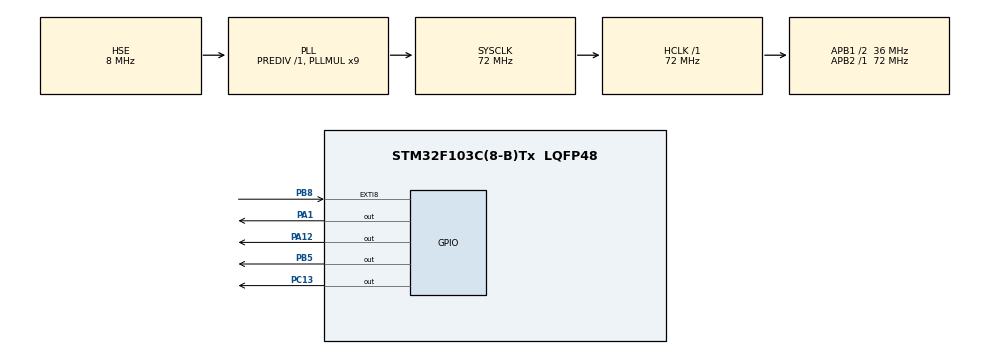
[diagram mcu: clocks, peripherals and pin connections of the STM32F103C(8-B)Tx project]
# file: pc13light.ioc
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Mcu.Family=STM32F1
Mcu.Name=STM32F103C(8-B)Tx
Mcu.Package=LQFP48
NVIC.EXTI9_5_IRQn=true\:0\:0\:false\:false\:true\:true\:true\:true
NVIC.PriorityGroup=NVIC_PRIORITYGROUP_4
NVIC.TIM2_IRQn=true\:0\:0\:false\:false\:true\:true\:true\:true
PA1.PinState=GPIO_PIN_SET
PA1.Signal=GPIO_Output
PA12.PinState=GPIO_PIN_SET
PA12.Signal=GPIO_Output
PA13.Mode=Serial_Wire
PA13.Signal=SYS_JTMS-SWDIO
PA14.Mode=Serial_Wire
PA14.Signal=SYS_JTCK-SWCLK
PB5.PinState=GPIO_PIN_SET
PB5.Signal=GPIO_Output
PB8.GPIO_ModeDefaultEXTI=GPIO_MODE_IT_FALLING
PB8.GPIO_PuPd=GPIO_PULLUP
PB8.Signal=GPXTI8
PC13-TAMPER-RTC.Signal=GPIO_Output
PD0-OSC_IN.Mode=HSE-External-Oscillator
PD0-OSC_IN.Signal=RCC_OSC_IN
PD1-OSC_OUT.Mode=HSE-External-Oscillator
PD1-OSC_OUT.Signal=RCC_OSC_OUT
ProjectManager.HeapSize=0x200
ProjectManager.StackSize=0x400
ProjectManager.TargetToolchain=MDK-ARM V5.32
RCC.AHBFreq_Value=72000000
RCC.APB1CLKDivider=RCC_HCLK_DIV2
RCC.APB1Freq_Value=36000000
RCC.APB1TimFreq_Value=72000000
RCC.APB2Freq_Value=72000000
RCC.APB2TimFreq_Value=72000000
RCC.HCLKFreq_Value=72000000
RCC.PLLMUL=RCC_PLL_MUL9
RCC.PLLSourceVirtual=RCC_PLLSOURCE_HSE
RCC.SYSCLKFreq_VALUE=72000000
RCC.SYSCLKSource=RCC_SYSCLKSOURCE_PLLCLK
RCC.USBFreq_Value=72000000
TIM2.Period=2499
TIM2.Prescaler=7199
VP_TIM2_VS_ClockSourceINT.Mode=Internal
board=custom

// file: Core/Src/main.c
/* USER CODE BEGIN Header */
/**
  ******************************************************************************
  * @file           : main.c
  * @brief          : Main program body
  ******************************************************************************
  * @attention
  *
  * Copyright (c) 2026 STMicroelectronics.
  * All rights reserved.
  *
  * This software is licensed under terms that can be found in the LICENSE file
  * in the root directory of this software component.
  * If no LICENSE file comes with this software, it is provided AS-IS.
  *
  ******************************************************************************
  */
/* USER CODE END Header */
#include "main.h"
#include "stm32f103xb.h"
#include "stm32f1xx_hal.h"
#include "stm32f1xx_hal_gpio.h"
#include "tim.h"
#include "gpio.h"
#include <stdint.h>

void SystemClock_Config(void);

int main(void)
{

  /* MCU Configuration--------------------------------------------------------*/

  /* Reset of all peripherals, Initializes the Flash interface and the Systick. */
  HAL_Init();

  /* Configure the system clock */
  SystemClock_Config();

  /* Initialize all configured peripherals */
  MX_GPIO_Init();
  MX_TIM2_Init();
  /* USER CODE BEGIN 2 */

  HAL_TIM_Base_Start_IT(&htim2);  //启用tim2的定时器

  /* USER CODE END 2 */

  /* Infinite loop */
  /* USER CODE BEGIN WHILE */
  while (1)
  {

    /***********************
    这是使用hal_delay的点灯
    ***********************/
		HAL_GPIO_WritePin(GPIOC,GPIO_PIN_13,GPIO_PIN_RESET);
		HAL_GPIO_WritePin(GPIOA,GPIO_PIN_1,GPIO_PIN_SET);
		HAL_Delay(250);
		HAL_GPIO_WritePin(GPIOC,GPIO_PIN_13,GPIO_PIN_SET);
		HAL_GPIO_WritePin(GPIOA,GPIO_PIN_1,GPIO_PIN_RESET);
    HAL_Delay(250);

    /* USER CODE END WHILE */

  }
}

void SystemClock_Config(void)
{
  RCC_OscInitTypeDef RCC_OscInitStruct = {0};
  RCC_ClkInitTypeDef RCC_ClkInitStruct = {0};

  /** Initializes the RCC Oscillators according to the specified parameters
  * in the RCC_OscInitTypeDef structure.
  */
  RCC_OscInitStruct.OscillatorType = RCC_OSCILLATORTYPE_HSE;
  RCC_OscInitStruct.HSEState = RCC_HSE_ON;
  RCC_OscInitStruct.HSEPredivValue = RCC_HSE_PREDIV_DIV1;
  RCC_OscInitStruct.HSIState = RCC_HSI_ON;
  RCC_OscInitStruct.PLL.PLLState = RCC_PLL_ON;
  RCC_OscInitStruct.PLL.PLLSource = RCC_PLLSOURCE_HSE;
  RCC_OscInitStruct.PLL.PLLMUL = RCC_PLL_MUL9;
  if (HAL_RCC_OscConfig(&RCC_OscInitStruct) != HAL_OK)
  {
    Error_Handler();
  }

  /** Initializes the CPU, AHB and APB buses clocks
  */
  RCC_ClkInitStruct.ClockType = RCC_CLOCKTYPE_HCLK|RCC_CLOCKTYPE_SYSCLK
                              |RCC_CLOCKTYPE_PCLK1|RCC_CLOCKTYPE_PCLK2;
  RCC_ClkInitStruct.SYSCLKSource = RCC_SYSCLKSOURCE_PLLCLK;
  RCC_ClkInitStruct.AHBCLKDivider = RCC_SYSCLK_DIV1;
  RCC_ClkInitStruct.APB1CLKDivider = RCC_HCLK_DIV2;
  RCC_ClkInitStruct.APB2CLKDivider = RCC_HCLK_DIV1;

  if (HAL_RCC_ClockConfig(&RCC_ClkInitStruct, FLASH_LATENCY_2) != HAL_OK)
  {
    Error_Handler();
  }
}

/* USER CODE BEGIN 4 */

void HAL_TIM_PeriodElapsedCallback(TIM_HandleTypeDef *htim)
{
  if (htim ->Instance == TIM2) {
    HAL_GPIO_TogglePin(GPIOA, GPIO_PIN_12);
  }
  /*
  htim:H是句柄 Handle 理解为"软件管理档案"
  tim Timer
  toggiepin:反转电平

  更专业的说法:
  htim: Timer Handle（定时器句柄）的缩写
  Instance: 指向具体的硬件定时器
  TogglePin: 翻转 GPIO 引脚电平
  */
}
void HAL_GPIO_EXTI_Callback(uint16_t GPIO_Pin)
{
  static uint32_t bool_first_push = 0; //0 == no,1 == yes
  static uint32_t initime = 0; //在程序启动阶段初始化的，通常发生在进入 main()之前  之后就不会重复赋值 static特性

  uint32_t nowtime = HAL_GetTick();

  if (GPIO_Pin == GPIO_PIN_8) {
    if (nowtime - initime >= 20 || bool_first_push == 0) {
      HAL_GPIO_TogglePin(GPIOB, GPIO_PIN_5);
      bool_first_push = 1;
      initime = nowtime;
    }
  }
}

/* USER CODE END 4 */

void Error_Handler(void)
{
  __disable_irq();
  while (1)
  {
  }
}
